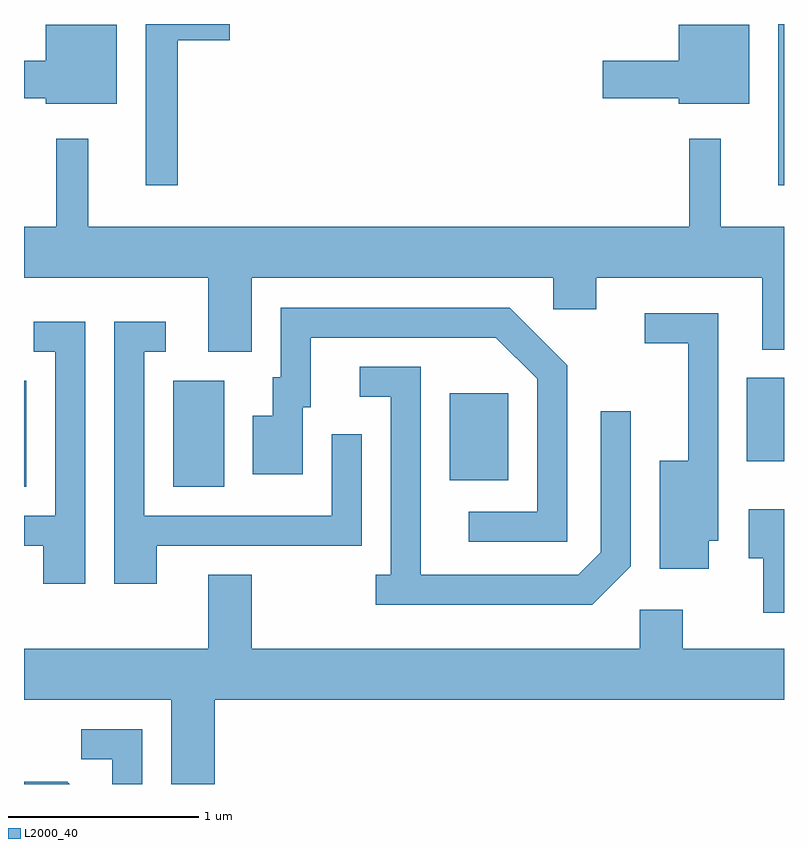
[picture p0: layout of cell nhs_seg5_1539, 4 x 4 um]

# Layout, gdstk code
import gdstk
lib = gdstk.Library(unit=1e-6, precision=1e-09)
def R(c, l, rs):  # rectangles x0, y0, x1, y1
    for r in rs: c.add(gdstk.rectangle(r[:2], r[2:], *l))
def P(c, l, *ps):  # polygons
    for p in ps: c.add(gdstk.Polygon(p, *l))
L2000_40 = (2000, 40)

nhs_seg5_1539 = lib.new_cell('nhs_seg5_1539')
R(nhs_seg5_1539, L2000_40, [(229.611,1515.636,229.624,1516.194), (230.396,1515.636,230.664,1516.194), (231.851,1515.671,232.159,1516.129), (233.416,1515.771,233.611,1516.209), (233.581,1517.223,233.611,1518.072)])
P(nhs_seg5_1539, L2000_40, [(230.419,1517.986),(230.694,1517.986),(230.694,1518.072),(230.251,1518.072),(230.251,1517.223),(230.419,1517.223)],
  [(233.429,1518.069),(233.056,1518.069),(233.056,1517.879),(232.656,1517.879),(232.656,1517.681),(233.056,1517.681),(233.056,1517.651),(233.429,1517.651)],
  [(230.099,1518.069),(229.726,1518.069),(229.726,1517.879),(229.611,1517.879),(229.611,1517.681),(229.726,1517.681),(229.726,1517.651),(230.099,1517.651)],
  [(230.809,1516.736),(232.396,1516.736),(232.396,1516.571),(232.624,1516.571),(232.624,1516.736),(233.496,1516.736),(233.496,1516.358),(233.611,1516.358),(233.611,1517.004),(233.279,1517.004),(233.279,1517.468),(233.111,1517.468),(233.111,1517.004),(229.949,1517.004),(229.949,1517.468),(229.781,1517.468),(229.781,1517.004),(229.611,1517.004),(229.611,1516.736),(230.581,1516.736),(230.581,1516.346),(230.809,1516.346)],
  [(232.469,1516.277),(232.167,1516.579),(230.961,1516.579),(230.961,1516.214),(230.921,1516.214),(230.921,1516.009),(230.816,1516.009),(230.816,1515.701),(231.079,1515.701),(231.079,1516.056),(231.119,1516.056),(231.119,1516.421),(232.094,1516.421),(232.311,1516.204),(232.311,1515.504),(231.953,1515.504),(231.953,1515.346),(232.469,1515.346)],
  [(233.214,1515.351),(233.264,1515.351),(233.264,1516.549),(232.878,1516.549),(232.878,1516.391),(233.106,1516.391),(233.106,1515.774),(232.956,1515.774),(232.956,1515.206),(233.214,1515.206)],
  [(229.934,1516.504),(229.663,1516.504),(229.663,1516.346),(229.776,1516.346),(229.776,1515.484),(229.611,1515.484),(229.611,1515.326),(229.711,1515.326),(229.711,1515.126),(229.934,1515.126)],
  [(230.309,1515.326),(231.389,1515.326),(231.389,1515.913),(231.231,1515.913),(231.231,1515.484),(230.244,1515.484),(230.244,1516.346),(230.358,1516.346),(230.358,1516.504),(230.086,1516.504),(230.086,1515.126),(230.309,1515.126)],
  [(232.804,1515.219),(232.804,1516.033),(232.646,1516.033),(232.646,1515.292),(232.529,1515.174),(231.699,1515.174),(231.699,1516.269),(231.378,1516.269),(231.378,1516.111),(231.541,1516.111),(231.541,1515.174),(231.463,1515.174),(231.463,1515.016),(232.602,1515.016)],
  [(233.611,1515.519),(233.426,1515.519),(233.426,1515.261),(233.501,1515.261),(233.501,1514.973),(233.611,1514.973)],
  [(230.614,1514.516),(233.611,1514.516),(233.611,1514.784),(233.079,1514.784),(233.079,1514.989),(232.851,1514.989),(232.851,1514.784),(230.809,1514.784),(230.809,1515.174),(230.581,1515.174),(230.581,1514.784),(229.611,1514.784),(229.611,1514.516),(230.386,1514.516),(230.386,1514.072),(230.614,1514.072)],
  [(230.234,1514.359),(229.913,1514.359),(229.913,1514.201),(230.076,1514.201),(230.076,1514.072),(230.234,1514.072)],
  [(229.839,1514.084),(229.611,1514.084),(229.611,1514.072),(229.851,1514.072)])

lib.write_gds('nhs_seg5_1539.gds')
